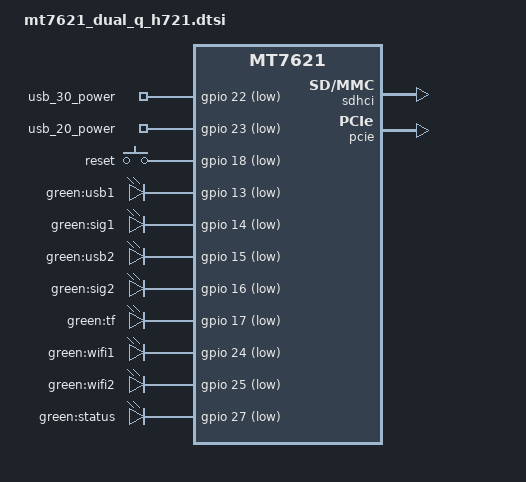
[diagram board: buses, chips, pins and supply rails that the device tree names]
// SPDX-License-Identifier: GPL-2.0-or-later OR MIT

#include "mt7621.dtsi"

#include <dt-bindings/gpio/gpio.h>
#include <dt-bindings/input/input.h>

/ {
	compatible = "dual-q,h721", "mediatek,mt7621-soc";

	aliases {
		led-boot = &led_status;
		led-failsafe = &led_status;
		led-running = &led_status;
		led-upgrade = &led_status;
	};

	chosen {
		bootargs = "console=ttyS0,115200";
	};

	gpio-export {
		compatible = "gpio-export";
		#size-cells = <0>;

		usb_30_power {
			gpio-export,name = "usb_30_power";
			gpio-export,output = <0>;
			gpios = <&gpio 22 GPIO_ACTIVE_LOW>;
		};

		usb_20_power {
			gpio-export,name = "usb_20_power";
			gpio-export,output = <0>;
			gpios = <&gpio 23 GPIO_ACTIVE_LOW>;
		};
	};

	keys {
		compatible = "gpio-keys";

		reset {
			label = "reset";
			gpios = <&gpio 18 GPIO_ACTIVE_LOW>;
			linux,code = <KEY_RESTART>;
		};
	};

	leds {
		compatible = "gpio-leds";

                usb1 {
                        label = "green:usb1";
                        gpios = <&gpio 13 GPIO_ACTIVE_LOW>;
                };

                sig1 {
                        label = "green:sig1";
                        gpios = <&gpio 14 GPIO_ACTIVE_LOW>;
                };

                usb2 {
                        label = "green:usb2";
                        gpios = <&gpio 15 GPIO_ACTIVE_LOW>;
                };

                sig2 {
                        label = "green:sig2";
                        gpios = <&gpio 16 GPIO_ACTIVE_LOW>;
                };

		tf {
                        label = "green:tf";
                        gpios = <&gpio 17 GPIO_ACTIVE_LOW>;
                };
	
                wifi1 {
                        label = "green:wifi1";
                        gpios = <&gpio 24 GPIO_ACTIVE_LOW>;
                };

                wifi2 {
                        label = "green:wifi2";
                        gpios = <&gpio 25 GPIO_ACTIVE_LOW>;
                };

		led_status: status {
			label = "green:status";
			gpios = <&gpio 27 GPIO_ACTIVE_LOW>;
		};
	};
};

&sdhci {
	status = "okay";
};

&pcie {
	status = "okay";
};

&switch0 {
	ports {
		port@0 {
			status = "okay";
			label = "lan1";
		};

		port@1 {
			status = "okay";
			label = "lan2";
		};

		port@2 {
			status = "okay";
			label = "lan3";
		};

		port@3 {
			status = "okay";
			label = "lan4";
		};

		wan: port@4 {
			status = "okay";
			label = "wan";
		};
	};
};

&state_default {
	gpio {
		groups = "jtag", "uart2", "wdt";
		function = "gpio";
	};
};
